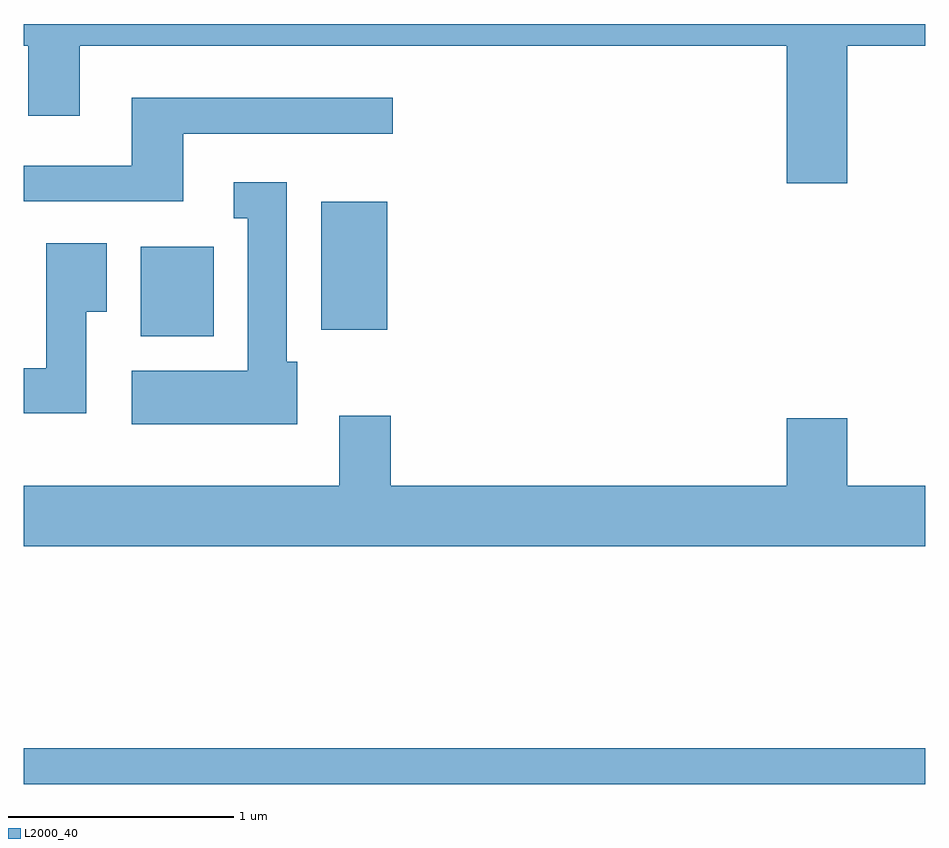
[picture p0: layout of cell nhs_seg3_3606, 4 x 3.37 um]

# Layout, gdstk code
import gdstk
lib = gdstk.Library(unit=1e-6, precision=1e-09)
def R(c, l, rs):  # rectangles x0, y0, x1, y1
    for r in rs: c.add(gdstk.rectangle(r[:2], r[2:], *l))
def P(c, l, *ps):  # polygons
    for p in ps: c.add(gdstk.Polygon(p, *l))
L2000_40 = (2000, 40)

nhs_seg3_3606 = lib.new_cell('nhs_seg3_3606')
R(nhs_seg3_3606, L2000_40, [(291.611,1120.521,295.611,1120.679), (292.131,1122.506,292.454,1122.904), (292.931,1122.536,293.224,1123.104)])
P(nhs_seg3_3606, L2000_40, [(295.264,1123.796),(295.611,1123.796),(295.611,1123.892),(291.611,1123.892),(291.611,1123.796),(291.631,1123.796),(291.631,1123.486),(291.859,1123.486),(291.859,1123.796),(294.996,1123.796),(294.996,1123.186),(295.264,1123.186)],
  [(292.319,1123.406),(293.248,1123.406),(293.248,1123.564),(292.091,1123.564),(292.091,1123.264),(291.611,1123.264),(291.611,1123.106),(292.319,1123.106)],
  [(292.824,1122.394),(292.779,1122.394),(292.779,1123.189),(292.543,1123.189),(292.543,1123.031),(292.606,1123.031),(292.606,1122.354),(292.091,1122.354),(292.091,1122.116),(292.824,1122.116)],
  [(291.889,1122.616),(291.979,1122.616),(291.979,1122.919),(291.711,1122.919),(291.711,1122.364),(291.611,1122.364),(291.611,1122.166),(291.889,1122.166)],
  [(295.611,1121.844),(295.264,1121.844),(295.264,1122.144),(294.996,1122.144),(294.996,1121.844),(293.239,1121.844),(293.239,1122.154),(293.011,1122.154),(293.011,1121.844),(291.611,1121.844),(291.611,1121.576),(295.611,1121.576)])

lib.write_gds('nhs_seg3_3606.gds')
